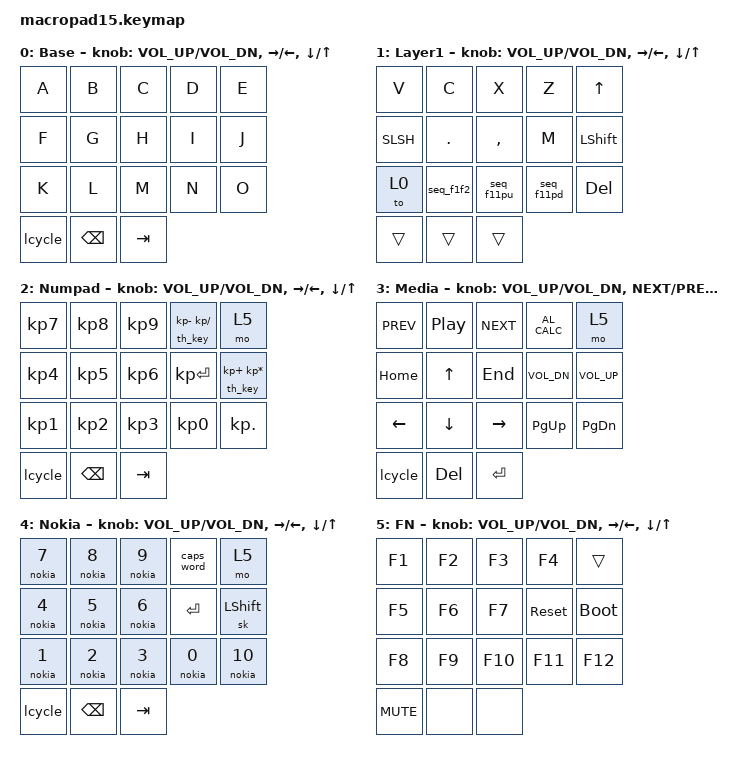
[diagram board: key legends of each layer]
/*
 * Macropad15 - keymap cho ZMK firmware
 * Chuyen tu QMK/Vial: 15 phim + 3 nut nhan encoder (vi tri 15, 16, 17).
 *
 * Thu tu vi tri (giong LAYOUT QMK):
 *      (ENC1)         k0   k1   k2   k3   k4
 *   (ENC2)  (ENC3)    k5   k6   k7   k8   k9
 *                     k10  k11  k12  k13  k14
 *
 * Layer: 0 Base | 1 Layer1 | 2 Numpad | 3 Media | 4 Nokia | 5 FN
 * Nut nhan ENC1 = &lcycle (doi vong Base -> Numpad -> Media -> Nokia).
 */

#include <dt-bindings/zmk/keys.h>
#include <dt-bindings/zmk/behaviors.h>

/ {
    /* ----- Cac behavior custom cua Macropad15 (code C trong module) ----- */
    behaviors {
        lcycle: lcycle {
            compatible = "zmk,behavior-lcycle";
            #binding-cells = <0>;
            display-name = "Layer Cycle";
            /* Layer index: Base -> Numpad -> Media -> Nokia */
            layers = <0 2 3 4>;
        };

        nokia: nokia_multitap {
            compatible = "zmk,behavior-nokia-multitap";
            #binding-cells = <1>;
            display-name = "Nokia";
        };

        th_key: tap_hold_key {
            compatible = "zmk,behavior-tap-hold-key";
            #binding-cells = <2>;
            display-name = "Tap-Hold";
            tapping-term-ms = <200>;
        };

        /* Bam F1 roi F2 (giong ban ESP32-C3) */
        seq_f1f2: seq_f1f2 {
            compatible = "zmk,behavior-macro";
            #binding-cells = <0>;
            display-name = "F1 F2";
            bindings = <&kp F1 &kp F2>;
        };

        /* Bam F11 roi Page Up */
        seq_f11pu: seq_f11pu {
            compatible = "zmk,behavior-macro";
            #binding-cells = <0>;
            display-name = "F11 PgUp";
            bindings = <&kp F11 &kp PG_UP>;
        };

        /* Bam F11 roi Page Down */
        seq_f11pd: seq_f11pd {
            compatible = "zmk,behavior-macro";
            #binding-cells = <0>;
            display-name = "F11 PgDn";
            bindings = <&kp F11 &kp PG_DN>;
        };
    };

    keymap {
        compatible = "zmk,keymap";

        /* ===== Layer 0: Base ===== */
        base_layer {
            display-name = "Base";
            bindings = <
                &kp A     &kp B   &kp C     &kp D   &kp E
                &kp F     &kp G   &kp H     &kp I   &kp J
                &kp K     &kp L   &kp M     &kp N   &kp O
                &lcycle   &kp BSPC  &kp TAB
            >;
            /* ENC1: volume, ENC2: trai/phai, ENC3: len/xuong */
            sensor-bindings =
                <&inc_dec_kp C_VOL_UP C_VOL_DN>,
                <&inc_dec_kp RIGHT LEFT>,
                <&inc_dec_kp DOWN UP>;
        };

        /* ===== Layer 1: Layer1 (giong ban ESP32-C3) ===== */
        fn1_layer {
            display-name = "Layer1";
            bindings = <
                &kp V     &kp C   &kp X        &kp Z        &kp UP
                &kp SLSH  &kp DOT &kp COMMA    &kp M        &kp LSHIFT
                &to 0     &seq_f1f2  &seq_f11pu  &seq_f11pd  &kp DEL
                &trans    &trans  &trans
            >;
            /* QMK de TRNS -> lay binding cua layer mac dinh */
            sensor-bindings =
                <&inc_dec_kp C_VOL_UP C_VOL_DN>,
                <&inc_dec_kp RIGHT LEFT>,
                <&inc_dec_kp DOWN UP>;
        };

        /* ===== Layer 2: Numpad ===== */
        numpad_layer {
            display-name = "Numpad";
            bindings = <
                &kp KP_N7  &kp KP_N8  &kp KP_N9  &th_key KP_MINUS KP_DIVIDE  &mo 5
                &kp KP_N4  &kp KP_N5  &kp KP_N6  &kp KP_ENTER                &th_key KP_PLUS KP_MULTIPLY
                &kp KP_N1  &kp KP_N2  &kp KP_N3  &kp KP_N0                   &kp KP_DOT
                &lcycle    &kp BSPC   &kp TAB
            >;
            sensor-bindings =
                <&inc_dec_kp C_VOL_UP C_VOL_DN>,
                <&inc_dec_kp RIGHT LEFT>,
                <&inc_dec_kp DOWN UP>;
        };

        /* ===== Layer 3: Media ===== */
        media_layer {
            display-name = "Media";
            bindings = <
                &kp C_PREV  &kp C_PLAY_PAUSE  &kp C_NEXT  &kp C_AL_CALC  &mo 5
                &kp HOME    &kp UP            &kp END     &kp C_VOL_DN   &kp C_VOL_UP
                &kp LEFT    &kp DOWN          &kp RIGHT   &kp PG_UP      &kp PG_DN
                &lcycle     &kp DEL           &kp ENTER
            >;
            /* QMK: ENC2 = bai truoc/sau, ENC3 = PgUp/PgDn */
            sensor-bindings =
                <&inc_dec_kp C_VOL_UP C_VOL_DN>,
                <&inc_dec_kp C_NEXT C_PREV>,
                <&inc_dec_kp PG_DN PG_UP>;
        };

        /* ===== Layer 4: Nokia multitap ===== */
        nokia_layer {
            display-name = "Nokia";
            bindings = <
                &nokia 7   &nokia 8  &nokia 9  &caps_word  &mo 5
                &nokia 4   &nokia 5  &nokia 6  &kp ENTER   &sk LSHIFT
                &nokia 1   &nokia 2  &nokia 3  &nokia 0    &nokia 10
                &lcycle    &kp BSPC  &kp TAB
            >;
            sensor-bindings =
                <&inc_dec_kp C_VOL_UP C_VOL_DN>,
                <&inc_dec_kp RIGHT LEFT>,
                <&inc_dec_kp DOWN UP>;
        };

        /* ===== Layer 5: FN ===== */
        fn_layer {
            display-name = "FN";
            bindings = <
                &kp F1     &kp F2   &kp F3    &kp F4       &trans
                &kp F5     &kp F6   &kp F7    &sys_reset   &bootloader
                &kp F8     &kp F9   &kp F10   &kp F11      &kp F12
                &kp C_MUTE &none    &none
            >;
            sensor-bindings =
                <&inc_dec_kp C_VOL_UP C_VOL_DN>,
                <&inc_dec_kp RIGHT LEFT>,
                <&inc_dec_kp DOWN UP>;
        };
    };
};
